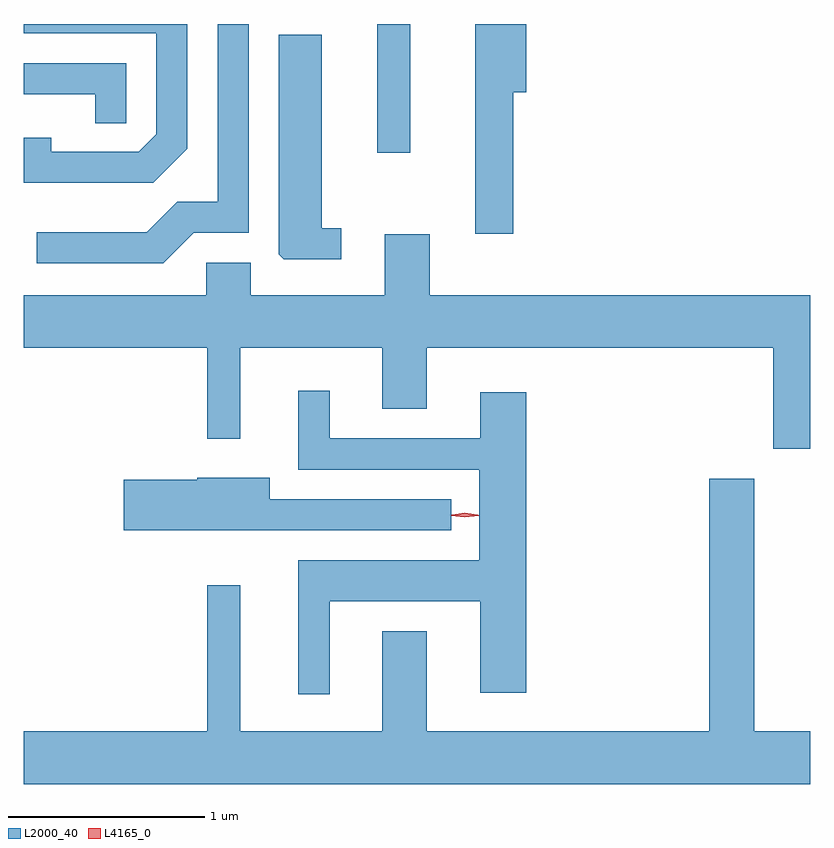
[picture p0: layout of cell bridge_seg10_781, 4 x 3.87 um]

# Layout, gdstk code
import gdstk
lib = gdstk.Library(unit=1e-6, precision=1e-09)
def R(c, l, rs):  # rectangles x0, y0, x1, y1
    for r in rs: c.add(gdstk.rectangle(r[:2], r[2:], *l))
def P(c, l, *ps):  # polygons
    for p in ps: c.add(gdstk.Polygon(p, *l))
L2000_40 = (2000, 40)
L4165_0 = (4165, 0)

bridge_seg10_781 = lib.new_cell('bridge_seg10_781')
R(bridge_seg10_781, L2000_40, [(583.256,2090.488,583.424,2091.143)])
P(bridge_seg10_781, L2000_40, [(582.322,2090.081),(582.604,2090.081),(582.604,2091.143),(582.446,2091.143),(582.446,2090.239),(582.239,2090.239),(582.084,2090.084),(581.523,2090.084),(581.523,2089.926),(582.167,2089.926)],
  [(583.949,2090.796),(584.014,2090.796),(584.014,2091.143),(583.756,2091.143),(583.756,2090.076),(583.949,2090.076)],
  [(582.289,2090.509),(582.289,2091.143),(581.459,2091.143),(581.459,2091.096),(582.131,2091.096),(582.131,2090.582),(582.044,2090.494),(581.599,2090.494),(581.599,2090.564),(581.459,2090.564),(581.459,2090.336),(582.117,2090.336)],
  [(583.073,2090.104),(582.974,2090.104),(582.974,2091.089),(582.756,2091.089),(582.756,2089.972),(582.782,2089.946),(583.073,2089.946)],
  [(581.979,2090.944),(581.459,2090.944),(581.459,2090.786),(581.821,2090.786),(581.821,2090.637),(581.979,2090.637)],
  [(585.459,2089.764),(583.524,2089.764),(583.524,2090.074),(583.296,2090.074),(583.296,2089.764),(582.614,2089.764),(582.614,2089.929),(582.386,2089.929),(582.386,2089.764),(581.459,2089.764),(581.459,2089.496),(582.391,2089.496),(582.391,2089.033),(582.559,2089.033),(582.559,2089.496),(583.281,2089.496),(583.281,2089.186),(583.509,2089.186),(583.509,2089.496),(585.271,2089.496),(585.271,2088.981),(585.459,2088.981)],
  [(583.014,2088.206),(583.781,2088.206),(583.781,2087.741),(584.014,2087.741),(584.014,2089.269),(583.781,2089.269),(583.781,2089.034),(583.014,2089.034),(583.014,2089.278),(582.856,2089.278),(582.856,2088.876),(583.776,2088.876),(583.776,2088.414),(582.856,2088.414),(582.856,2087.733),(583.014,2087.733)],
  [(583.633,2088.724),(582.709,2088.724),(582.709,2088.834),(582.34,2088.834),(582.34,2088.824),(581.966,2088.824),(581.966,2088.566),(583.633,2088.566)],
  [(585.459,2087.544),(585.174,2087.544),(585.174,2088.829),(584.946,2088.829),(584.946,2087.544),(583.509,2087.544),(583.509,2088.054),(583.281,2088.054),(583.281,2087.544),(582.559,2087.544),(582.559,2088.288),(582.391,2088.288),(582.391,2087.544),(581.459,2087.544),(581.459,2087.276),(585.459,2087.276)])
P(bridge_seg10_781, L4165_0, [(583.703,2088.635),(583.638,2088.644),(583.637,2088.645),(583.638,2088.645),(583.703,2088.655),(583.769,2088.645),(583.769,2088.645),(583.769,2088.644)],
  [(583.703,2088.633),(583.634,2088.642),(583.634,2088.643),(583.634,2088.644),(583.703,2088.653),(583.772,2088.644),(583.773,2088.643),(583.772,2088.642)])

lib.write_gds('bridge_seg10_781.gds')
